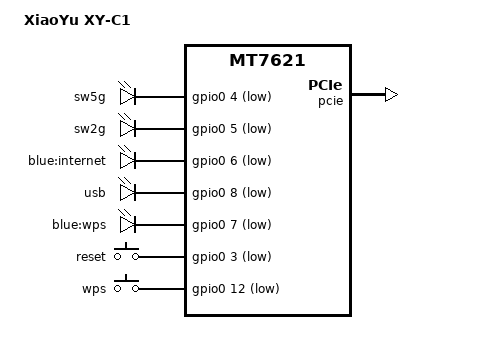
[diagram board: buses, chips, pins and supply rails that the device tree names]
/dts-v1/;

#include "mt7621.dtsi"
#include <dt-bindings/input/input.h>
#include "mt7621-spi-16m-layout.dtsi"
#include "mt7621-raeth-gmac2.dtsi"
#include "mt7621-pinctrl-default-gpio.dtsi"

/ {
	compatible = "mediatek,mt7621-soc";
	model = "XiaoYu XY-C1";

	chosen {
		bootargs = "console=ttyS0,57600";
	};

	leds {
		compatible = "gpio-leds";
    
		wlan5g {
			label = "sw5g";
			gpios = <&gpio0 4 GPIO_ACTIVE_LOW>;
			linux,default-trigger = "phy1radio";
		};

		wlan2g {
			label = "sw2g";
			gpios = <&gpio0 5 GPIO_ACTIVE_LOW>;
			linux,default-trigger = "phy0radio";
		};

		
         internet {
			label = "blue:internet";
			gpios = <&gpio0 6 GPIO_ACTIVE_LOW>;
		};

	  usb {
			label = "usb";
			gpios = <&gpio0 8 GPIO_ACTIVE_LOW>;
			linux,default-trigger = "usbport";
                 };      
		
                        led_wps: wps {
			label = "blue:wps";
			gpios = <&gpio0 7 GPIO_ACTIVE_LOW>;
		};
	};

	gpio-keys-polled {
		compatible = "gpio-keys-polled";
		#address-cells = <1>;
		#size-cells = <0>;
		poll-interval = <20>;

		reset {
			label = "reset";
			gpios = <&gpio0 3 GPIO_ACTIVE_LOW>;
			linux,code = <KEY_RESTART>;
		};

		wps {
			label = "wps";
			gpios = <&gpio0 12 GPIO_ACTIVE_LOW>;
			linux,code = <KEY_WPS_BUTTON>;
		};

	};
};

&pcie {
	status = "okay";
};
